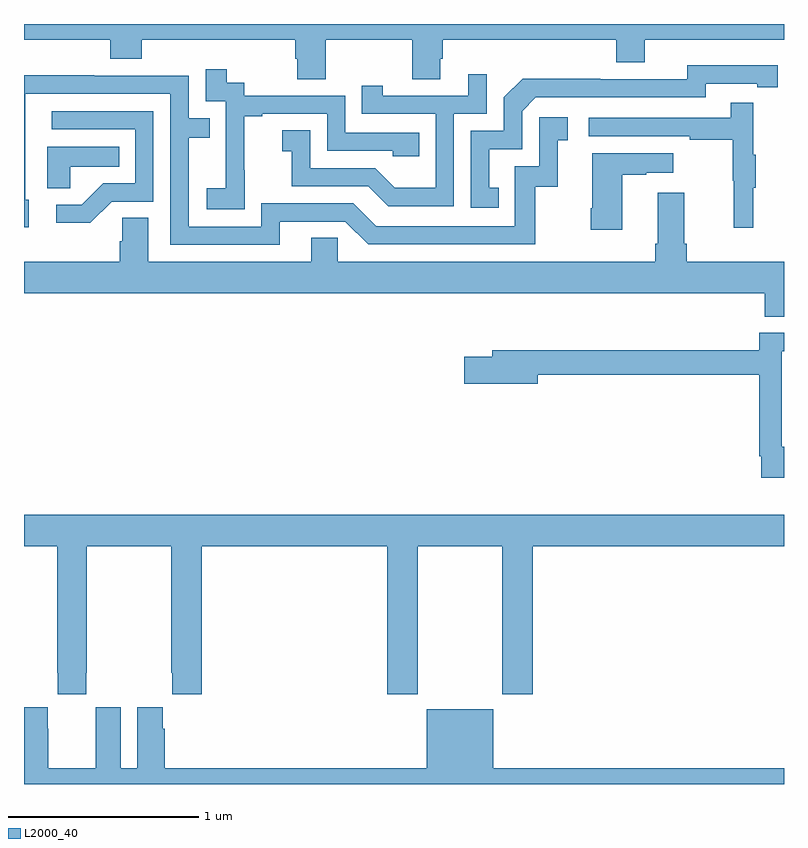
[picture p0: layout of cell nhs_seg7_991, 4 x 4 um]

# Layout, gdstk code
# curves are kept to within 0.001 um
import gdstk
lib = gdstk.Library(unit=1e-6, precision=1e-09)
def P(c, l, *ps):  # polygons
    for p in ps: c.add(gdstk.Polygon(p, *l))
L2000_40 = (2000, 40)

nhs_seg7_991 = lib.new_cell('nhs_seg7_991')
P(nhs_seg7_991, L2000_40, [(184.587,1033.916),(185.044,1033.916),(185.044,1033.708),(185.191,1033.708),(185.191,1033.818),(185.204,1033.818),(185.204,1033.916),(186.116,1033.916),(186.116,1033.799),(186.268,1033.799),(186.268,1033.916),(187,1033.916),(187,1034),(183,1034),(183,1033.916),(183.455,1033.916),(183.455,1033.817),(183.62,1033.817),(183.62,1033.916),(184.427,1033.916),(184.427,1033.818),(184.439,1033.818),(184.439,1033.708),(184.587,1033.708)],
  [(185.498,1033.137),(185.449,1033.137),(185.449,1033.341),(185.622,1033.341),(185.622,1033.542),(185.694,1033.614),(186.588,1033.614),(186.588,1033.686),(186.86,1033.686),(186.86,1033.666),(186.968,1033.666),(186.968,1033.782),(186.492,1033.783),(186.492,1033.71),(186.032,1033.71),(186.032,1033.712),(185.624,1033.712),(185.526,1033.614),(185.526,1033.437),(185.352,1033.437),(185.352,1033.032),(185.498,1033.032)],
  [(184.161,1033.231),(184.16,1033.231),(184.16,1033.515),(184.255,1033.515),(184.255,1033.527),(184.596,1033.527),(184.596,1033.332),(184.941,1033.332),(184.941,1033.305),(185.081,1033.305),(185.081,1033.428),(184.692,1033.428),(184.692,1033.623),(184.158,1033.623),(184.158,1033.692),(184.066,1033.692),(184.066,1033.762),(183.957,1033.762),(183.957,1033.593),(184.062,1033.593),(184.062,1033.364),(184.061,1033.364),(184.061,1033.135),(183.963,1033.135),(183.963,1033.025),(184.161,1033.025)],
  [(185.262,1033.527),(185.436,1033.527),(185.436,1033.735),(185.339,1033.735),(185.339,1033.623),(184.888,1033.623),(184.888,1033.675),(184.777,1033.675),(184.777,1033.527),(185.166,1033.527),(185.166,1033.138),(184.952,1033.138),(184.848,1033.242),(184.506,1033.242),(184.506,1033.441),(184.359,1033.441),(184.359,1033.331),(184.408,1033.331),(184.408,1033.146),(184.811,1033.146),(184.916,1033.041),(185.262,1033.041)],
  [(184.345,1032.96),(184.692,1032.96),(184.812,1032.84),(185.692,1032.84),(185.692,1033.143),(185.81,1033.143),(185.81,1033.389),(185.863,1033.389),(185.863,1033.51),(185.712,1033.51),(185.712,1033.251),(185.583,1033.251),(185.583,1032.936),(184.854,1032.936),(184.734,1033.056),(184.248,1033.056),(184.248,1032.933),(183.867,1032.933),(183.867,1033.402),(183.977,1033.402),(183.977,1033.503),(183.867,1033.503),(183.867,1033.728),(183.371,1033.728),(183.371,1033.73),(183,1033.73),(183,1032.93),(183.025,1032.93),(183.025,1033.074),(183.006,1033.074),(183.006,1033.632),(183.771,1033.632),(183.771,1032.837),(184.345,1032.837)],
  [(186.839,1033.139),(186.85,1033.139),(186.85,1033.313),(186.839,1033.313),(186.839,1033.585),(186.721,1033.585),(186.721,1033.506),(185.973,1033.506),(185.973,1033.41),(186.505,1033.41),(186.505,1033.39),(186.729,1033.39),(186.729,1033.176),(186.736,1033.176),(186.736,1032.927),(186.839,1032.927)],
  [(183.462,1033.065),(183.681,1033.065),(183.681,1033.542),(183.147,1033.542),(183.147,1033.446),(183.585,1033.446),(183.585,1033.161),(183.416,1033.161),(183.305,1033.05),(183.171,1033.05),(183.171,1032.953),(183.349,1032.953)],
  [(183.243,1033.25),(183.5,1033.25),(183.5,1033.354),(183.122,1033.354),(183.122,1033.135),(183.243,1033.135)],
  [(186.148,1033.207),(186.275,1033.207),(186.275,1033.217),(186.418,1033.217),(186.418,1033.321),(185.99,1033.321),(185.99,1033.03),(185.983,1033.03),(185.983,1032.918),(186.148,1032.918)],
  [(187,1032.748),(186.488,1032.748),(186.488,1032.844),(186.475,1032.844),(186.475,1033.111),(186.335,1033.111),(186.335,1032.844),(186.323,1032.844),(186.323,1032.748),(184.65,1032.748),(184.65,1032.875),(184.511,1032.875),(184.511,1032.748),(183.655,1032.748),(183.655,1032.98),(183.516,1032.98),(183.516,1032.857),(183.503,1032.857),(183.503,1032.748),(183,1032.748),(183,1032.584),(186.899,1032.584),(186.899,1032.46),(187,1032.46)],
  [(187,1031.774),(186.987,1031.774),(186.987,1032.278),(187,1032.278),(187,1032.375),(186.871,1032.375),(186.871,1032.283),(185.465,1032.283),(185.465,1032.249),(185.316,1032.249),(185.316,1032.107),(185.704,1032.107),(185.704,1032.154),(186.871,1032.154),(186.871,1031.725),(186.879,1031.725),(186.879,1031.613),(187,1031.613)],
  [(183.327,1030.585),(183.33,1030.585),(183.33,1031.252),(183.775,1031.252),(183.775,1030.585),(183.781,1030.585),(183.781,1030.473),(183.935,1030.473),(183.935,1031.252),(184.913,1031.252),(184.913,1030.473),(185.073,1030.473),(185.073,1031.252),(185.518,1031.252),(185.518,1030.473),(185.678,1030.473),(185.678,1031.252),(187,1031.252),(187,1031.416),(183,1031.416),(183,1031.252),(183.175,1031.252),(183.175,1030.585),(183.177,1030.585),(183.177,1030.473),(183.327,1030.473)],
  [(185.47,1030.393),(185.12,1030.393),(185.12,1030.084),(183.74,1030.084),(183.74,1030.292),(183.73,1030.292),(183.73,1030.405),(183.596,1030.405),(183.596,1030.084),(183.508,1030.084),(183.508,1030.405),(183.378,1030.405),(183.378,1030.292),(183.377,1030.292),(183.377,1030.084),(183.127,1030.084),(183.127,1030.292),(183.126,1030.292),(183.126,1030.405),(183,1030.405),(183,1030),(187,1030),(187,1030.084),(185.47,1030.084)])

lib.write_gds('nhs_seg7_991.gds')
